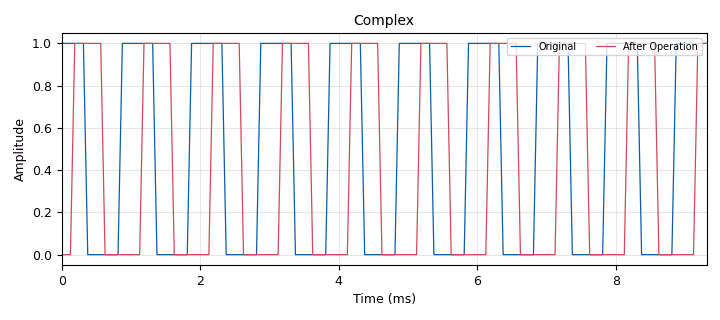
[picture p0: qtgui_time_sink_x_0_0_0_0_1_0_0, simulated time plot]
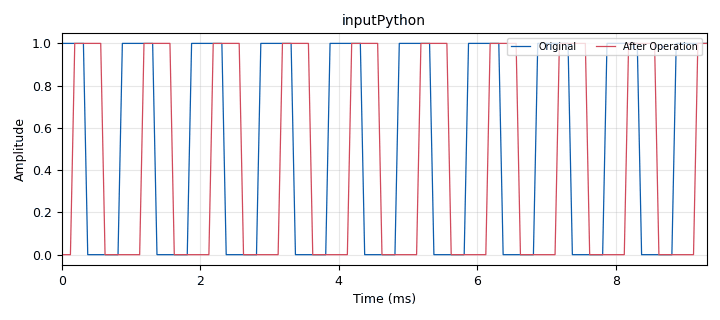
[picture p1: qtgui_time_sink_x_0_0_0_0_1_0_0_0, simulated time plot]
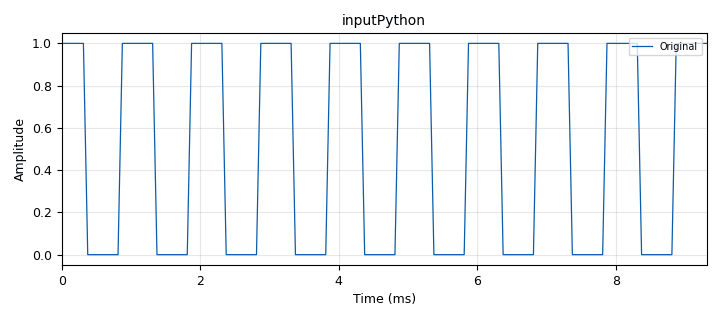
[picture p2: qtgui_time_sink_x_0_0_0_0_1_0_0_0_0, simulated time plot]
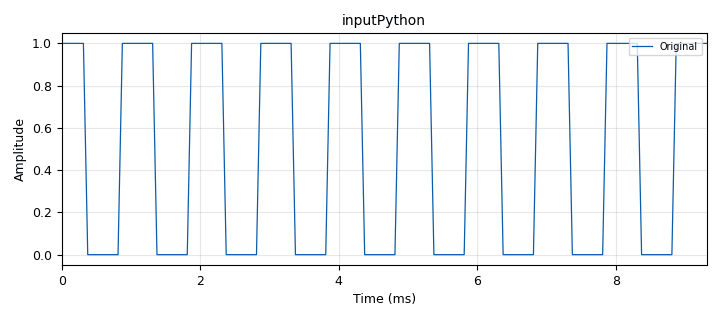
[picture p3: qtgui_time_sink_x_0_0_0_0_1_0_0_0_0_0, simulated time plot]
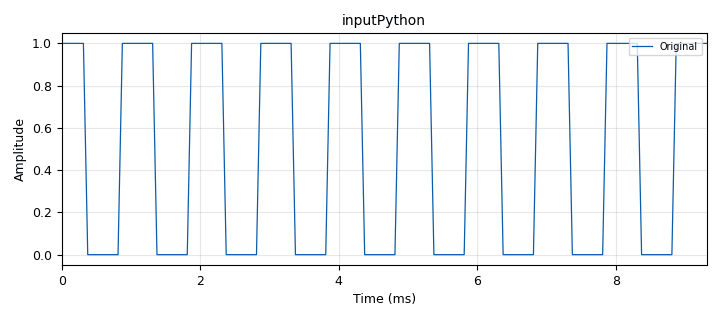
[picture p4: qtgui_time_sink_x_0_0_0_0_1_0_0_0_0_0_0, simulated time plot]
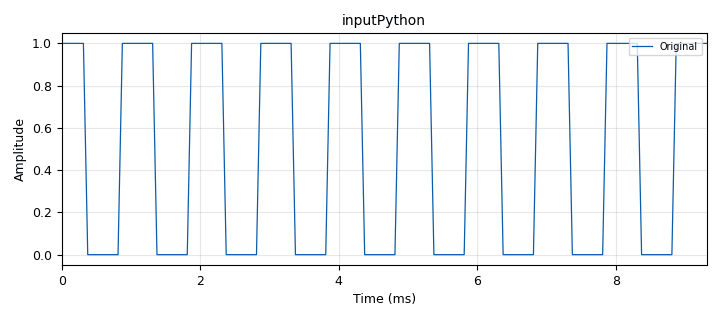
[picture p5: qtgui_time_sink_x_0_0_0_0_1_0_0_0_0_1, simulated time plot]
options:
  parameters:
    author: JI
    generate_options: qt_gui
    id: EmbededPythonAndDataTypes
    output_language: python
    title: Embeded-Python-Blocks and data-types
  states: {}

blocks:
- name: nD_vectorLength
  id: variable
  parameters:
    value: '5'
  states: {}
- name: numPoints
  id: variable
  parameters:
    value: '150'
  states: {}
- name: samp_rate
  id: variable
  parameters:
    value: '16000'
  states: {}
- name: analog_sig_source_x_0_0_0
  id: analog_sig_source_x
  parameters:
    amp: '1'
    freq: '1000'
    offset: '0'
    phase: '0'
    samp_rate: samp_rate
    type: complex
    waveform: analog.GR_SQR_WAVE
  states: {}
- name: analog_sig_source_x_0_0_0_0
  id: analog_sig_source_x
  parameters:
    amp: '1'
    freq: '1000'
    offset: '0'
    phase: '0'
    samp_rate: samp_rate
    type: float
    waveform: analog.GR_SQR_WAVE
  states: {}
- name: analog_sig_source_x_0_0_0_0_0
  id: analog_sig_source_x
  parameters:
    amp: '1'
    freq: '1000'
    offset: '0'
    phase: '0'
    samp_rate: samp_rate
    type: byte
    waveform: analog.GR_SQR_WAVE
  states: {}
- name: analog_sig_source_x_0_0_0_0_0_0
  id: analog_sig_source_x
  parameters:
    amp: '1'
    freq: '1000'
    offset: '0'
    phase: '0'
    samp_rate: samp_rate
    type: byte
    waveform: analog.GR_SQR_WAVE
  states: {}
- name: analog_sig_source_x_0_0_0_0_1
  id: analog_sig_source_x
  parameters:
    amp: '1'
    freq: '1000'
    offset: '0'
    phase: '0'
    samp_rate: samp_rate
    type: float
    waveform: analog.GR_SQR_WAVE
  states: {}
- name: blocks_char_to_float_2
  id: blocks_char_to_float
  parameters:
    scale: '1'
  states: {}
- name: blocks_char_to_float_2_0
  id: blocks_char_to_float
  parameters:
    scale: '1'
  states: {}
- name: blocks_char_to_float_3
  id: blocks_char_to_float
  parameters:
    scale: '1'
  states: {}
- name: blocks_null_sink_0
  id: blocks_null_sink
  parameters:
    type: byte
  states: {}
- name: blocks_null_source_0
  id: blocks_null_source
  parameters:
    type: byte
  states: {}
- name: blocks_stream_to_vector_0
  id: blocks_stream_to_vector
  parameters:
    num_items: nD_vectorLength
    type: float
  states: {}
- name: blocks_throttle_0
  id: blocks_throttle
  parameters:
    samples_per_second: samp_rate
    type: byte
  states: {}
- name: blocks_vector_to_stream_0
  id: blocks_vector_to_stream
  parameters:
    num_items: nD_vectorLength
    type: float
  states: {}
- name: epy_block_1
  id: epy_block
  parameters:
    _source_code: |
      """
      Embedded Python Blocks:

      Each time this file is saved, GRC will instantiate the first class it finds
      to get ports and parameters of your block. The arguments to __init__  will
      be the parameters. All of them are required to have default values!
      """

      import numpy as np
      from gnuradio import gr


      class blk(gr.sync_block):  # other base classes are basic_block, decim_block, interp_block
          """Embedded Python Block example - a simple multiply const"""

          def __init__(self, example_param=1.0):  # only default arguments here
              """arguments to this function show up as parameters in GRC"""
              gr.sync_block.__init__(
                  self,
                  name='Embedded Python complex-Block',   # will show up in GRC
                  in_sig=[np.complex64],
                  out_sig=[np.complex64]
              )
              # if an attribute with the same name as a parameter is found,
              # a callback is registered (properties work, too).
              self.example_param = example_param

          def work(self, input_items, output_items):
              """example: multiply with constant"""
              output_items[0][:] = input_items[0] * self.example_param
              return len(output_items[0])
    example_param: '1'
  states: {}
- name: epy_block_1_0
  id: epy_block
  parameters:
    _source_code: |
      """
      Embedded Python Blocks:

      Each time this file is saved, GRC will instantiate the first class it finds
      to get ports and parameters of your block. The arguments to __init__  will
      be the parameters. All of them are required to have default values!
      """

      import numpy as np
      from gnuradio import gr


      class blk(gr.sync_block):  # other base classes are basic_block, decim_block, interp_block
          """Embedded Python Block example - a simple multiply const"""

          def __init__(self, example_param=1.0):  # only default arguments here
              """arguments to this function show up as parameters in GRC"""
              gr.sync_block.__init__(
                  self,
                  name='Embedded Python float-Block',   # will show up in GRC
                  in_sig=[np.single],
                  out_sig=[np.single]
              )
              # if an attribute with the same name as a parameter is found,
              # a callback is registered (properties work, too).
              self.example_param = example_param

          def work(self, input_items, output_items):
              """example: multiply with constant"""
              output_items[0][:] = input_items[0] * self.example_param
              return len(output_items[0])
    example_param: '1'
  states: {}
- name: epy_block_1_0_0
  id: epy_block
  parameters:
    _source_code: |
      """
      Embedded Python Blocks:

      Each time this file is saved, GRC will instantiate the first class it finds
      to get ports and parameters of your block. The arguments to __init__  will
      be the parameters. All of them are required to have default values!
      """

      import numpy as np
      from gnuradio import gr


      class blk(gr.sync_block):  # other base classes are basic_block, decim_block, interp_block
          """Embedded Python Block example - a simple multiply const"""

          def __init__(self, example_param=1.0):  # only default arguments here
              """arguments to this function show up as parameters in GRC"""
              gr.sync_block.__init__(
                  self,
                  name='Embedded Python byte-Block',   # will show up in GRC
                  in_sig=[np.byte],
                  out_sig=[np.byte]
              )
              # if an attribute with the same name as a parameter is found,
              # a callback is registered (properties work, too).
              self.example_param = example_param

          def work(self, input_items, output_items):
              """example: multiply with constant"""
              output_items[0][:] = input_items[0] #* self.example_param
              return len(output_items[0])
    example_param: '1'
  states: {}
- name: epy_block_1_0_0_0
  id: epy_block
  parameters:
    _source_code: |
      """
      Embedded Python Blocks:

      Each time this file is saved, GRC will instantiate the first class it finds
      to get ports and parameters of your block. The arguments to __init__  will
      be the parameters. All of them are required to have default values!
      """

      import numpy as np
      from gnuradio import gr
      import struct


      class blk(gr.sync_block):  # other base classes are basic_block, decim_block, interp_block
          """Embedded Python Block example - a simple multiply const"""

          def __init__(self, example_param=1.0):  # only default arguments here
              """arguments to this function show up as parameters in GRC"""
              gr.sync_block.__init__(
                  self,
                  name='Embedded Python byte-to-float Block',   # will show up in GRC
                  in_sig=[np.byte],
                  out_sig=[np.single]
              )
              # if an attribute with the same name as a parameter is found,
              # a callback is registered (properties work, too).
              self.example_param = example_param

          def work(self, input_items, output_items):
              """example: multiply with constant"""

              #unlikely that this works, but it did (?)
              output_items[0][:] = input_items[0] * self.example_param  #works due to the output being float straigt away -> typecast happens automatically on the multiplication

              #Alternative: convert the bytes to a float (single) value, so we can put it out from   https://stackoverflow.com/questions/37093485/how-to-interpret-4-bytes-as-a-32-bit-float-using-python/37093610
              #output_items[0][:]= struct.unpack('<f',  bytearray(input_items[0]) )  * self.example_param


              return len(output_items[0])
    example_param: '1'
  states: {}
- name: epy_block_1_0_1
  id: epy_block
  parameters:
    _source_code: |
      """
      Embedded Python Blocks:

      Each time this file is saved, GRC will instantiate the first class it finds
      to get ports and parameters of your block. The arguments to __init__  will
      be the parameters. All of them are required to have default values!
      """

      import numpy as np
      from gnuradio import gr


      class blk(gr.sync_block):  # other base classes are basic_block, decim_block, interp_block
          """Embedded Python Block example - a simple multiply const"""

          def __init__(self, example_scale_param=1.0, input_vector_dimension=5):  # only default arguments here
              """arguments to this function show up as parameters in GRC"""
              gr.sync_block.__init__(
                  self,
                  name='Embedded Python 5D-float-Block',   # will show up in GRC
                  in_sig=[(np.single,5)],
                  out_sig=[(np.single,5)]
              )
              # if an attribute with the same name as a parameter is found,
              # a callback is registered (properties work, too).
              self.example_scale_param = example_scale_param

          def work(self, input_items, output_items):
              """example: multiply with constant"""
              output_items[0][:] = input_items[0] * self.example_scale_param
              return len(output_items[0])
    example_scale_param: '1'
    input_vector_dimension: nD_vectorLength
  states: {}
- name: gui_tabs
  id: qtgui_tab_widget
  parameters:
    label0: float
    label1: complex
    label2: byte
    label3: byte-to-float
    label4: NDFloat
    num_tabs: '5'
  states: {}
- name: qtgui_time_sink_x_0_0_0_0_1_0_0
  id: qtgui_time_sink_x
  parameters:
    autoscale: 'True'
    comment: COMPLEX
    gui_hint: gui_tabs@1:1,0
    label1: Original
    label2: After Operation
    name: Complex
    size: numPoints
    srate: samp_rate
    type: complex
  states: {}
- name: qtgui_time_sink_x_0_0_0_0_1_0_0_0
  id: qtgui_time_sink_x
  parameters:
    autoscale: 'True'
    gui_hint: gui_tabs@1:0,0
    label1: Original
    label2: After Operation
    name: inputPython
    size: numPoints
    srate: samp_rate
    type: complex
  states: {}
- name: qtgui_time_sink_x_0_0_0_0_1_0_0_0_0
  id: qtgui_time_sink_x
  parameters:
    autoscale: 'True'
    gui_hint: gui_tabs@0:0,0
    label1: Original
    name: inputPython
    size: numPoints
    srate: samp_rate
    type: float
  states: {}
- name: qtgui_time_sink_x_0_0_0_0_1_0_0_0_0_0
  id: qtgui_time_sink_x
  parameters:
    autoscale: 'True'
    gui_hint: gui_tabs@2:0,0
    label1: Original
    name: inputPython
    size: numPoints
    srate: samp_rate
    type: float
  states: {}
- name: qtgui_time_sink_x_0_0_0_0_1_0_0_0_0_0_0
  id: qtgui_time_sink_x
  parameters:
    autoscale: 'True'
    gui_hint: gui_tabs@3:0,0
    label1: Original
    name: inputPython
    size: numPoints
    srate: samp_rate
    type: float
  states: {}
- name: qtgui_time_sink_x_0_0_0_0_1_0_0_0_0_1
  id: qtgui_time_sink_x
  parameters:
    autoscale: 'True'
    gui_hint: gui_tabs@4:0,0
    label1: Original
    name: inputPython
    size: numPoints
    srate: samp_rate
    type: float
  states: {}
- name: qtgui_time_sink_x_0_0_0_0_1_0_0_1
  id: qtgui_time_sink_x
  parameters:
    autoscale: 'True'
    comment: FLOAT
    gui_hint: gui_tabs@0:1,0
    label1: Original
    name: Float
    size: numPoints
    srate: samp_rate
    type: float
  states: {}
- name: qtgui_time_sink_x_0_0_0_0_1_0_0_1_0
  id: qtgui_time_sink_x
  parameters:
    autoscale: 'True'
    comment: BYTE
    gui_hint: gui_tabs@2:1,0
    label1: Original
    name: postpython
    size: numPoints
    srate: samp_rate
    type: float
  states: {}
- name: qtgui_time_sink_x_0_0_0_0_1_0_0_1_0_0
  id: qtgui_time_sink_x
  parameters:
    autoscale: 'True'
    comment: BYTE to FLOAT
    gui_hint: gui_tabs@3:1,0
    label1: Original
    name: postpython
    size: numPoints
    srate: samp_rate
    type: float
  states: {}
- name: qtgui_time_sink_x_0_0_0_0_1_0_0_1_1
  id: qtgui_time_sink_x
  parameters:
    autoscale: 'True'
    comment: ND-ValueFLOAT
    gui_hint: gui_tabs@4:1,0
    label1: Original
    name: Float
    size: numPoints
    srate: samp_rate
    type: float
  states: {}

connections:
- [analog_sig_source_x_0_0_0, '0', epy_block_1, '0']
- [analog_sig_source_x_0_0_0, '0', qtgui_time_sink_x_0_0_0_0_1_0_0_0, '0']
- [analog_sig_source_x_0_0_0_0, '0', epy_block_1_0, '0']
- [analog_sig_source_x_0_0_0_0, '0', qtgui_time_sink_x_0_0_0_0_1_0_0_0_0, '0']
- [analog_sig_source_x_0_0_0_0_0, '0', blocks_char_to_float_2, '0']
- [analog_sig_source_x_0_0_0_0_0, '0', epy_block_1_0_0, '0']
- [analog_sig_source_x_0_0_0_0_0_0, '0', blocks_char_to_float_2_0, '0']
- [analog_sig_source_x_0_0_0_0_0_0, '0', epy_block_1_0_0_0, '0']
- [analog_sig_source_x_0_0_0_0_1, '0', blocks_stream_to_vector_0, '0']
- [analog_sig_source_x_0_0_0_0_1, '0', qtgui_time_sink_x_0_0_0_0_1_0_0_0_0_1, '0']
- [blocks_char_to_float_2, '0', qtgui_time_sink_x_0_0_0_0_1_0_0_0_0_0, '0']
- [blocks_char_to_float_2_0, '0', qtgui_time_sink_x_0_0_0_0_1_0_0_0_0_0_0, '0']
- [blocks_char_to_float_3, '0', qtgui_time_sink_x_0_0_0_0_1_0_0_1_0, '0']
- [blocks_null_source_0, '0', blocks_throttle_0, '0']
- [blocks_stream_to_vector_0, '0', epy_block_1_0_1, '0']
- [blocks_throttle_0, '0', blocks_null_sink_0, '0']
- [blocks_vector_to_stream_0, '0', qtgui_time_sink_x_0_0_0_0_1_0_0_1_1, '0']
- [epy_block_1, '0', qtgui_time_sink_x_0_0_0_0_1_0_0, '0']
- [epy_block_1_0, '0', qtgui_time_sink_x_0_0_0_0_1_0_0_1, '0']
- [epy_block_1_0_0, '0', blocks_char_to_float_3, '0']
- [epy_block_1_0_0_0, '0', qtgui_time_sink_x_0_0_0_0_1_0_0_1_0_0, '0']
- [epy_block_1_0_1, '0', blocks_vector_to_stream_0, '0']

metadata:
  file_format: 1
